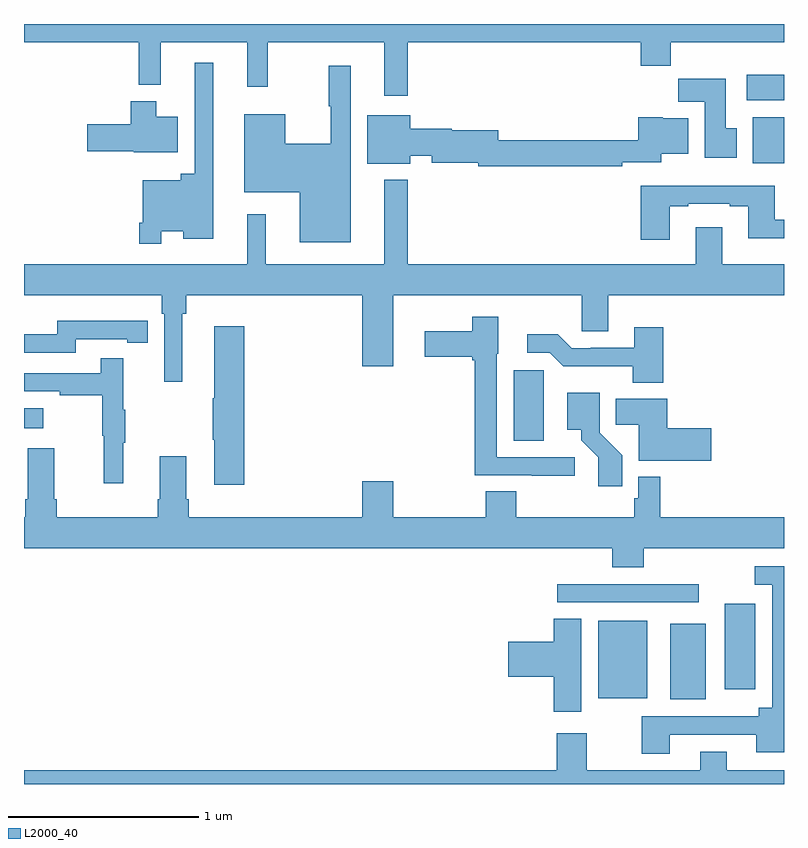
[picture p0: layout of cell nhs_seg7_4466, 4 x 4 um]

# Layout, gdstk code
import gdstk
lib = gdstk.Library(unit=1e-6, precision=1e-09)
def R(c, l, rs):  # rectangles x0, y0, x1, y1
    for r in rs: c.add(gdstk.rectangle(r[:2], r[2:], *l))
def P(c, l, *ps):  # polygons
    for p in ps: c.add(gdstk.Polygon(p, *l))
L2000_40 = (2000, 40)

nhs_seg7_4466 = lib.new_cell('nhs_seg7_4466')
R(nhs_seg7_4466, L2000_40, [(394.4,1042.445,394.588,1042.843), (394.022,1042.451,394.279,1042.858), (394.688,1042.5,394.849,1042.948), (393.807,1042.956,394.552,1043.052), (393.578,1043.806,393.736,1044.177), (391,1043.873,391.102,1043.977), (394.835,1045.268,395,1045.51), (394.803,1045.598,395,1045.732)])
P(nhs_seg7_4466, L2000_40, [(393.019,1045.904),(394.247,1045.904),(394.247,1045.78),(394.403,1045.78),(394.403,1045.904),(395,1045.904),(395,1046),(391,1046),(391,1045.904),(391.603,1045.904),(391.603,1045.679),(391.721,1045.679),(391.721,1045.904),(392.174,1045.904),(392.174,1045.671),(392.284,1045.671),(392.284,1045.904),(392.897,1045.904),(392.897,1045.623),(393.019,1045.623)],
  [(391.722,1044.908),(391.838,1044.908),(391.838,1044.869),(391.996,1044.869),(391.996,1045.795),(391.899,1045.795),(391.899,1045.213),(391.826,1045.213),(391.826,1045.177),(391.626,1045.177),(391.626,1044.955),(391.606,1044.955),(391.606,1044.843),(391.722,1044.843)],
  [(392.719,1045.78),(392.605,1045.78),(392.605,1045.566),(392.615,1045.566),(392.615,1045.369),(392.374,1045.369),(392.374,1045.525),(392.159,1045.525),(392.159,1045.115),(392.45,1045.115),(392.45,1044.851),(392.719,1044.851)],
  [(394.75,1045.452),(394.693,1045.452),(394.693,1045.711),(394.444,1045.711),(394.444,1045.592),(394.583,1045.592),(394.583,1045.296),(394.75,1045.296)],
  [(391.81,1045.513),(391.696,1045.513),(391.696,1045.594),(391.562,1045.594),(391.562,1045.473),(391.332,1045.473),(391.332,1045.331),(391.578,1045.331),(391.578,1045.325),(391.81,1045.325)],
  [(394.148,1045.272),(394.354,1045.272),(394.354,1045.316),(394.495,1045.316),(394.495,1045.504),(394.362,1045.504),(394.362,1045.51),(394.232,1045.51),(394.232,1045.388),(393.496,1045.388),(393.496,1045.441),(393.25,1045.441),(393.25,1045.449),(393.034,1045.449),(393.034,1045.519),(392.807,1045.519),(392.807,1045.265),(393.034,1045.265),(393.034,1045.307),(393.146,1045.307),(393.146,1045.271),(393.392,1045.271),(393.392,1045.252),(394.148,1045.252)],
  [(391.834,1044.476),(391.853,1044.476),(391.853,1044.572),(392.78,1044.572),(392.78,1044.198),(392.944,1044.198),(392.944,1044.572),(393.936,1044.572),(393.936,1044.382),(394.075,1044.382),(394.075,1044.572),(395,1044.572),(395,1044.736),(394.675,1044.736),(394.675,1044.93),(394.535,1044.93),(394.535,1044.736),(393.019,1044.736),(393.019,1045.18),(392.897,1045.18),(392.897,1044.736),(392.273,1044.736),(392.273,1045),(392.174,1045),(392.174,1044.736),(391,1044.736),(391,1044.572),(391.724,1044.572),(391.724,1044.476),(391.737,1044.476),(391.737,1044.117),(391.834,1044.117)],
  [(394.399,1045.041),(394.495,1045.041),(394.495,1045.053),(394.715,1045.053),(394.715,1045.041),(394.811,1045.041),(394.811,1044.872),(395,1044.872),(395,1044.969),(394.951,1044.969),(394.951,1045.15),(394.247,1045.15),(394.247,1044.864),(394.399,1044.864)],
  [(393.898,1043.721),(393.489,1043.721),(393.489,1044.264),(393.496,1044.264),(393.496,1044.46),(393.36,1044.46),(393.36,1044.382),(393.108,1044.382),(393.108,1044.248),(393.36,1044.248),(393.36,1044.23),(393.373,1044.23),(393.373,1043.625),(393.673,1043.625),(393.673,1043.623),(393.898,1043.623)],
  [(391.272,1044.342),(391.544,1044.342),(391.544,1044.322),(391.652,1044.322),(391.652,1044.438),(391.544,1044.438),(391.544,1044.439),(391.176,1044.439),(391.176,1044.366),(391,1044.366),(391,1044.27),(391.272,1044.27)],
  [(392.159,1044.409),(392,1044.409),(392,1044.029),(391.993,1044.029),(391.993,1043.812),(392,1043.812),(392,1043.574),(392.159,1043.574)],
  [(394.364,1044.403),(394.211,1044.403),(394.211,1044.297),(393.982,1044.297),(393.982,1044.294),(393.882,1044.294),(393.809,1044.367),(393.648,1044.367),(393.648,1044.27),(393.768,1044.27),(393.839,1044.2),(394.204,1044.2),(394.204,1044.113),(394.364,1044.113)],
  [(391.523,1043.795),(391.534,1043.795),(391.534,1043.969),(391.523,1043.969),(391.523,1044.241),(391.405,1044.241),(391.405,1044.162),(391,1044.162),(391,1044.066),(391.189,1044.066),(391.189,1044.046),(391.413,1044.046),(391.413,1043.832),(391.42,1043.832),(391.42,1043.583),(391.523,1043.583)],
  [(394.148,1043.73),(394.029,1043.849),(394.029,1044.058),(393.86,1044.058),(393.86,1043.864),(393.932,1043.864),(393.932,1043.809),(394.023,1043.719),(394.023,1043.568),(394.148,1043.568)],
  [(394.618,1043.873),(394.385,1043.873),(394.385,1044.028),(394.114,1044.028),(394.114,1043.89),(394.235,1043.89),(394.235,1043.702),(394.618,1043.702)],
  [(394.262,1043.24),(395,1043.24),(395,1043.404),(394.349,1043.404),(394.349,1043.617),(394.233,1043.617),(394.233,1043.505),(394.213,1043.505),(394.213,1043.404),(393.59,1043.404),(393.59,1043.54),(393.43,1043.54),(393.43,1043.404),(392.944,1043.404),(392.944,1043.593),(392.78,1043.593),(392.78,1043.404),(391.868,1043.404),(391.868,1043.5),(391.855,1043.5),(391.855,1043.725),(391.715,1043.725),(391.715,1043.5),(391.703,1043.5),(391.703,1043.404),(391.172,1043.404),(391.172,1043.5),(391.159,1043.5),(391.159,1043.767),(391.019,1043.767),(391.019,1043.5),(391.007,1043.5),(391.007,1043.404),(391,1043.404),(391,1043.24),(394.097,1043.24),(394.097,1043.141),(394.262,1043.141)],
  [(394.399,1042.26),(394.853,1042.26),(394.853,1042.166),(395,1042.166),(395,1043.145),(394.845,1043.145),(394.845,1043.049),(394.938,1043.049),(394.938,1042.402),(394.868,1042.402),(394.868,1042.356),(394.252,1042.356),(394.252,1042.158),(394.399,1042.158)],
  [(393.934,1042.871),(393.788,1042.871),(393.788,1042.748),(393.549,1042.748),(393.549,1042.565),(393.788,1042.565),(393.788,1042.38),(393.934,1042.38)],
  [(395,1042.072),(394.699,1042.072),(394.699,1042.171),(394.559,1042.171),(394.559,1042.072),(393.963,1042.072),(393.963,1042.267),(393.803,1042.267),(393.803,1042.072),(391,1042.072),(391,1042),(395,1042)])

lib.write_gds('nhs_seg7_4466.gds')
